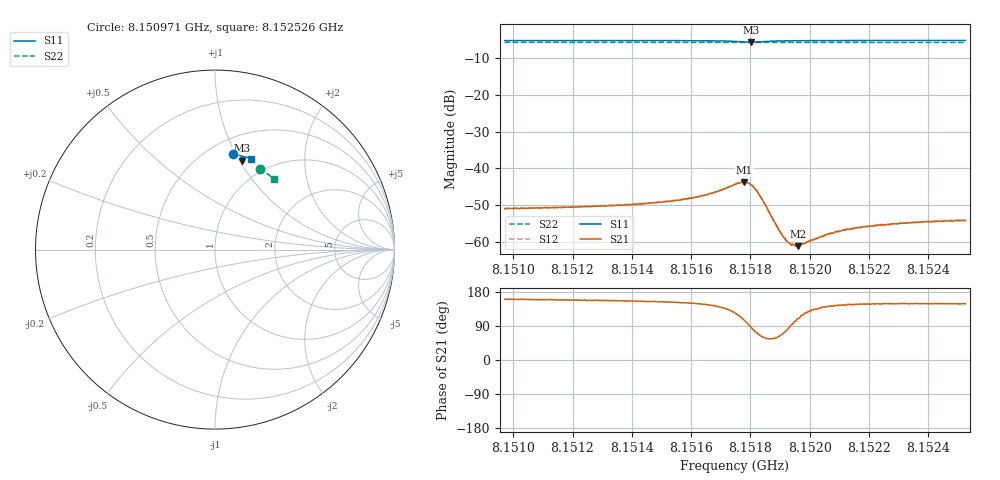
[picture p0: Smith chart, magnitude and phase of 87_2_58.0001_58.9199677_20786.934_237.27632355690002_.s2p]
#  HZ  S  RI  R  50.00
! Rohde & Schwarz Vector Network Analyzer
! Rohde-Schwarz,ZNB20-2Port,1311601062101988,3.16
! Created: UTC 3/21/2024, 12:54:08 AM
! freq[Hz]  re:S11  im:S11  re:S21  im:S21  re:S12  im:S12  re:S22  im:S22
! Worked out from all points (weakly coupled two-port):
!   401 points, 8.150971 GHz to 8.152526 GHz, reference 50 ohm
!   highest |S21| = -43.74 dB at 8.151779 GHz (marker M1); lowest = -61.1 dB at 8.151962 GHz (marker M2)
!   lowest |S11| = -5.7 dB at 8.151803 GHz (marker M3), VSWR 3.14, Z = 37.8 + j51 ohm
!   |S11| at or under -10 dB: nowhere
!   |S22| runs from -5.8 to -5.8 dB; largest |S21 - S12| = 0.00013
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8.1509708e9  0.1016 0.5334  -0.00266 0.00094  -0.00272 0.00101  0.2497 0.4497
8.1512312e9  0.1205 0.5295  -0.00279 0.00114  -0.00281 0.00118  0.2641 0.4409
8.1514917e9  0.1401 0.5245  -0.00309 0.00154  -0.00311 0.00159  0.2783 0.4318
8.1515656e9  0.1464 0.5224  -0.00329 0.00181  -0.0033 0.00185  0.2823 0.429
8.1516511e9  0.1544 0.5183  -0.00364 0.00242  -0.0036 0.00251  0.2867 0.4258
8.1517483e9  0.1624 0.5042  -0.0034 0.00503  -0.00336 0.00508  0.2917 0.4215
8.1517794e9  0.1576 0.4959  -0.00168 0.00628  -0.0016 0.00634  0.2929 0.4203
8.1518027e9  0.1488 0.4948  0.00042 0.00598  0.00049 0.00604  0.2938 0.4196
8.1518183e9  0.1438 0.4985  0.00147 0.00496  0.00152 0.00496  0.2944 0.4191
8.1518338e9  0.1419 0.5035  0.00182 0.00376  0.00189 0.00378  0.2953 0.4188
8.1518883e9  0.1478 0.5147  0.000868 0.00143  0.000901 0.00145  0.2983 0.4172
8.1519155e9  0.1519 0.5165  0.000318 0.00108  0.000358 0.00111  0.2999 0.4162
8.151931e9  0.1539 0.5169  7.27e-05 0.000966  0.000105 0.000952  0.3007 0.4157
8.1519388e9  0.155 0.5172  -6.13e-05 0.000897  -6.86e-06 0.000923  0.301 0.4153
8.1519621e9  0.1578 0.5173  -0.000285 0.000834  -0.000276 0.000875  0.3023 0.4144
8.1520088e9  0.1628 0.5172  -0.000728 0.00079  -0.000727 0.000805  0.3048 0.4126
8.1520787e9  0.1691 0.5162  -0.00103 0.000819  -0.0011 0.000824  0.3084 0.4098
8.1521215e9  0.1727 0.5154  -0.00118 0.000852  -0.0012 0.000842  0.3106 0.4081
8.1522343e9  0.1813 0.5131  -0.00145 0.000906  -0.00143 0.000897  0.3163 0.4035
8.1522692e9  0.184 0.5124  -0.00147 0.0009  -0.00148 0.000925  0.318 0.402
8.1523898e9  0.1924 0.5094  -0.00162 0.000977  -0.00163 0.00103  0.324 0.3972
8.1525258e9  0.2017 0.5061  -0.00167 0.00102  -0.00167 0.00108  0.3305 0.3913
